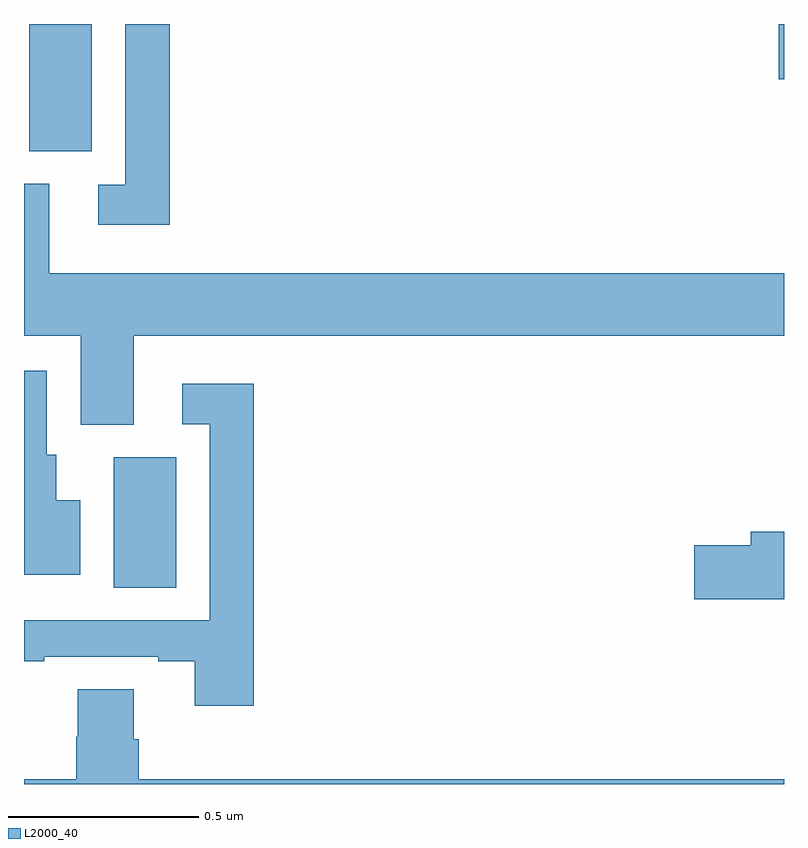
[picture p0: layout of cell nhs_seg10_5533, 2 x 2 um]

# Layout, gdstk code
import gdstk
lib = gdstk.Library(unit=1e-6, precision=1e-09)
def R(c, l, rs):  # rectangles x0, y0, x1, y1
    for r in rs: c.add(gdstk.rectangle(r[:2], r[2:], *l))
def P(c, l, *ps):  # polygons
    for p in ps: c.add(gdstk.Polygon(p, *l))
L2000_40 = (2000, 40)

nhs_seg10_5533 = lib.new_cell('nhs_seg10_5533')
R(nhs_seg10_5533, L2000_40, [(180.236,1269.016,180.4,1269.36), (180.014,1270.165,180.178,1270.5), (181.986,1270.355,182,1270.5)])
P(nhs_seg10_5533, L2000_40, [(180.383,1270.5),(180.267,1270.5),(180.267,1270.077),(180.195,1270.077),(180.195,1269.972),(180.383,1269.972)],
  [(180.289,1269.68),(182,1269.68),(182,1269.844),(180.067,1269.844),(180.067,1270.08),(180,1270.08),(180,1269.68),(180.149,1269.68),(180.149,1269.445),(180.289,1269.445)],
  [(180.148,1269.247),(180.085,1269.247),(180.085,1269.366),(180.06,1269.366),(180.06,1269.588),(180,1269.588),(180,1269.051),(180.148,1269.051)],
  [(180.605,1269.553),(180.417,1269.553),(180.417,1269.447),(180.489,1269.447),(180.489,1268.931),(180,1268.931),(180,1268.823),(180.053,1268.823),(180.053,1268.835),(180.353,1268.835),(180.353,1268.823),(180.449,1268.823),(180.449,1268.706),(180.605,1268.706)],
  [(182,1269.164),(181.913,1269.164),(181.913,1269.128),(181.764,1269.128),(181.764,1268.986),(182,1268.986)],
  [(182,1268.512),(180.302,1268.512),(180.302,1268.618),(180.289,1268.618),(180.289,1268.75),(180.142,1268.75),(180.142,1268.625),(180.137,1268.625),(180.137,1268.512),(180,1268.512),(180,1268.5),(182,1268.5)])

lib.write_gds('nhs_seg10_5533.gds')
